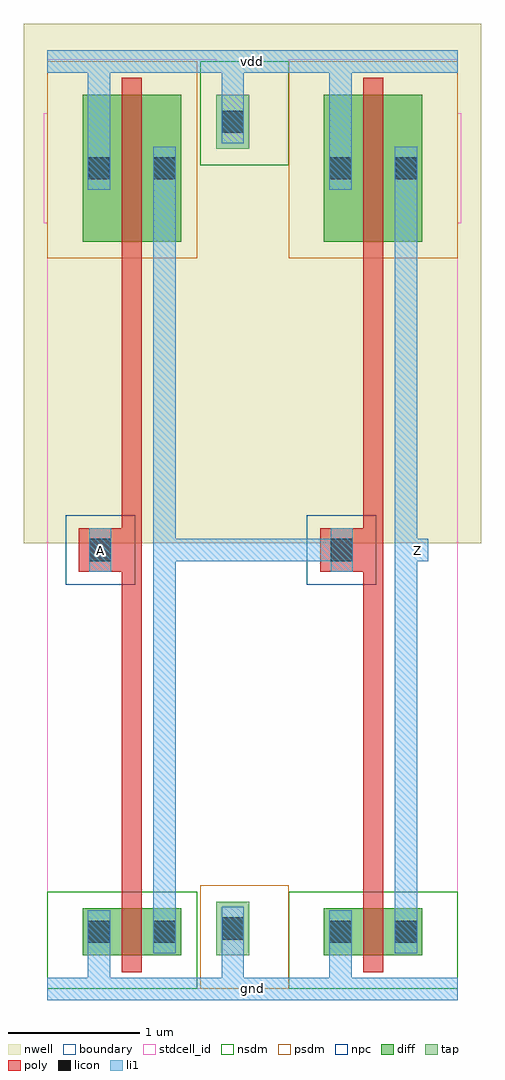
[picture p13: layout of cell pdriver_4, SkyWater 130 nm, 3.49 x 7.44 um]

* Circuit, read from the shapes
.subckt pdriver_4 A Z gnd vdd
XM1 pinv_7_1/A A gnd gnd sky130_fd_pr__nfet_01v8 w=0.36 l=0.15
XM2 Z pinv_7_1/A gnd gnd sky130_fd_pr__nfet_01v8 w=0.36 l=0.15
XM3 pinv_7_1/A A vdd vdd sky130_fd_pr__pfet_01v8 w=1.12 l=0.15
XM4 Z pinv_7_1/A vdd vdd sky130_fd_pr__pfet_01v8 w=1.12 l=0.15
.ends

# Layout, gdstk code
import gdstk
lib = gdstk.Library(unit=1e-6, precision=1e-09)
def R(c, l, rs):  # rectangles x0, y0, x1, y1
    for r in rs: c.add(gdstk.rectangle(r[:2], r[2:], *l))
nwell = (64, 20)
diff = (65, 20)
tap = (65, 44)
poly = (66, 20)
licon = (66, 44)
li1 = (67, 20)
stdcell_id = (81, 4)
nsdm = (93, 44)
psdm = (94, 20)
npc = (95, 20)
boundary = (235, 4)

contact_11 = lib.new_cell('contact_11')
R(contact_11, nwell, [(-0.295,-0.255,0.545,0.585)])
R(contact_11, diff, [(0,0.02,0.25,0.31)])
R(contact_11, licon, [(0.04,0.08,0.21,0.25)])
R(contact_11, li1, [(0.04,0,0.21,0.33)])
R(contact_11, stdcell_id, [(-0.295,-0.255,0.545,0.585)])
R(contact_11, psdm, [(-0.125,-0.105,0.375,0.435)])
R(contact_11, boundary, [(-0.295,-0.255,0.545,0.585)])

pmos_m1_w1_120_sli_dli_d = lib.new_cell('pmos_m1_w1_120_sli_dli_da_p')
R(pmos_m1_w1_120_sli_dli_d, nwell, [(-0.27,-0.27,1.02,1.39)])
R(pmos_m1_w1_120_sli_dli_d, diff, [(0,0,0.75,1.12)])
R(pmos_m1_w1_120_sli_dli_d, poly, [(0.3,-0.13,0.45,1.25), (0.3,-0.13,0.45,1.25)])
R(pmos_m1_w1_120_sli_dli_d, li1, [(0.04,0.395,0.21,0.725), (0.54,0.395,0.71,0.725)])
R(pmos_m1_w1_120_sli_dli_d, stdcell_id, [(-0.27,-0.27,1.02,1.39)])
R(pmos_m1_w1_120_sli_dli_d, psdm, [(-0.125,-0.125,0.875,1.245)])
R(pmos_m1_w1_120_sli_dli_d, boundary, [(-0.27,-0.27,1.02,1.39)])
pmos_m1_w1_120_sli_dli_d.add(gdstk.Reference(contact_11, (0,0.395)))
pmos_m1_w1_120_sli_dli_d.add(gdstk.Reference(contact_11, (0.5,0.395)))
pmos_m1_w1_120_sli_dli_d.add(gdstk.Label('S', (0.125,0.56), layer=67, texttype=16))
pmos_m1_w1_120_sli_dli_d.add(gdstk.Label('G', (0.375,0.56), layer=66, texttype=16))
pmos_m1_w1_120_sli_dli_d.add(gdstk.Label('D', (0.625,0.56), layer=67, texttype=16))

contact_17 = lib.new_cell('contact_17')
R(contact_17, diff, [(0,0.02,0.25,0.31)])
R(contact_17, licon, [(0.04,0.08,0.21,0.25)])
R(contact_17, li1, [(0.04,0,0.21,0.33)])
R(contact_17, stdcell_id, [(-0.125,-0.105,0.375,0.435)])
R(contact_17, nsdm, [(-0.125,-0.105,0.375,0.435)])
R(contact_17, boundary, [(-0.125,-0.105,0.375,0.435)])

nmos_m1_w0_360_sli_dli_d = lib.new_cell('nmos_m1_w0_360_sli_dli_da_p')
R(nmos_m1_w0_360_sli_dli_d, diff, [(0,0,0.75,0.36)])
R(nmos_m1_w0_360_sli_dli_d, poly, [(0.3,-0.13,0.45,0.49), (0.3,-0.13,0.45,0.49)])
R(nmos_m1_w0_360_sli_dli_d, li1, [(0.04,0.015,0.21,0.345), (0.54,0.015,0.71,0.345)])
R(nmos_m1_w0_360_sli_dli_d, stdcell_id, [(-0.125,-0.13,0.875,0.49)])
R(nmos_m1_w0_360_sli_dli_d, nsdm, [(-0.125,-0.125,0.875,0.485)])
R(nmos_m1_w0_360_sli_dli_d, boundary, [(-0.125,-0.13,0.875,0.49)])
nmos_m1_w0_360_sli_dli_d.add(gdstk.Reference(contact_17, (0,0.015)))
nmos_m1_w0_360_sli_dli_d.add(gdstk.Reference(contact_17, (0.5,0.015)))
nmos_m1_w0_360_sli_dli_d.add(gdstk.Label('S', (0.125,0.18), layer=67, texttype=16))
nmos_m1_w0_360_sli_dli_d.add(gdstk.Label('G', (0.375,0.18), layer=66, texttype=16))
nmos_m1_w0_360_sli_dli_d.add(gdstk.Label('D', (0.625,0.18), layer=67, texttype=16))

contact_24 = lib.new_cell('contact_24')
R(contact_24, nwell, [(-0.295,-0.215,0.545,0.625)])
R(contact_24, tap, [(0,0,0.25,0.41)])
R(contact_24, licon, [(0.04,0.12,0.21,0.29)])
R(contact_24, li1, [(0.04,0.04,0.21,0.37)])
R(contact_24, stdcell_id, [(-0.295,-0.215,0.545,0.625)])
R(contact_24, nsdm, [(-0.125,-0.125,0.375,0.535)])
R(contact_24, boundary, [(-0.295,-0.215,0.545,0.625)])

contact_25 = lib.new_cell('contact_25')
R(contact_25, tap, [(0,0,0.25,0.41)])
R(contact_25, licon, [(0.04,0.12,0.21,0.29)])
R(contact_25, li1, [(0.04,0.04,0.21,0.37)])
R(contact_25, stdcell_id, [(-0.125,-0.125,0.375,0.535)])
R(contact_25, psdm, [(-0.125,-0.125,0.375,0.535)])
R(contact_25, boundary, [(-0.125,-0.125,0.375,0.535)])

contact_12 = lib.new_cell('contact_12')
R(contact_12, poly, [(0,0,0.33,0.33)])
R(contact_12, licon, [(0.08,0.08,0.25,0.25)])
R(contact_12, li1, [(0.08,0,0.25,0.33)])
R(contact_12, stdcell_id, [(-0.1,-0.1,0.43,0.43)])
R(contact_12, npc, [(-0.1,-0.1,0.43,0.43)])
R(contact_12, boundary, [(-0.1,-0.1,0.43,0.43)])

pinv_4 = lib.new_cell('pinv_4')
R(pinv_4, nwell, [(-0.18,3.395,2.02,7.355)])
R(pinv_4, poly, [(0.57,0.745,0.72,5.565), (0.405,3.18,0.57,3.51)])
R(pinv_4, li1, [(0,-0.085,1.84,0.085), (0.31,-0.085,0.48,0.27), (1.33,0,1.5,0.46), (0.81,0.27,0.98,6.42), (0.32,3.18,0.49,3.51), (0.895,3.26,1.065,3.43), (0.31,6.09,0.48,7.155), (1.33,6.61,1.5,7.07), (0,6.985,1.84,7.155)])
R(pinv_4, stdcell_id, [(0,0,1.84,7.07), (0,0,1.84,7.07)])
R(pinv_4, nsdm, [(0,0,1.145,0.74), (1.165,6.28,1.84,7.07)])
R(pinv_4, psdm, [(1.165,0,1.84,0.79), (0,5.57,1.145,7.07)])
R(pinv_4, boundary, [(0,0,1.84,7.07), (0,0,1.84,7.07)])
pinv_4.add(gdstk.Reference(pmos_m1_w1_120_sli_dli_d, (0.27,5.695)))
pinv_4.add(gdstk.Reference(nmos_m1_w0_360_sli_dli_d, (0.27,0.255)))
pinv_4.add(gdstk.Reference(contact_24, (1.29,6.405)))
pinv_4.add(gdstk.Reference(contact_25, (1.29,0.255)))
pinv_4.add(gdstk.Reference(contact_12, (0.24,3.18)))
pinv_4.add(gdstk.Label('gnd', (0.92,0), layer=67, texttype=16))
pinv_4.add(gdstk.Label('Z', (0.98,3.345), layer=67, texttype=16))
pinv_4.add(gdstk.Label('vdd', (0.92,7.07), layer=67, texttype=16))
pinv_4.add(gdstk.Label('A', (0.405,3.345), layer=67, texttype=16))

pinv_7 = lib.new_cell('pinv_7')
R(pinv_7, nwell, [(-0.18,3.395,1.47,7.355)])
R(pinv_7, poly, [(0.57,0.745,0.72,5.565), (0.405,3.18,0.57,3.51)])
R(pinv_7, li1, [(0,-0.085,1.29,0.085), (0.31,-0.085,0.48,0.27), (0.81,0.27,0.98,6.42), (0.32,3.18,0.49,3.51), (0.895,3.26,1.065,3.43), (0.31,6.09,0.48,7.155), (0,6.985,1.29,7.155)])
R(pinv_7, stdcell_id, [(0,0,1.29,7.07), (0,0,1.29,7.07)])
R(pinv_7, nsdm, [(0,0,1.29,0.74)])
R(pinv_7, psdm, [(0,5.57,1.29,7.07)])
R(pinv_7, boundary, [(0,0,1.29,7.07), (0,0,1.29,7.07)])
pinv_7.add(gdstk.Reference(pmos_m1_w1_120_sli_dli_d, (0.27,5.695)))
pinv_7.add(gdstk.Reference(nmos_m1_w0_360_sli_dli_d, (0.27,0.255)))
pinv_7.add(gdstk.Reference(contact_12, (0.24,3.18)))
pinv_7.add(gdstk.Label('gnd', (0.645,0), layer=67, texttype=16))
pinv_7.add(gdstk.Label('Z', (0.98,3.345), layer=67, texttype=16))
pinv_7.add(gdstk.Label('vdd', (0.645,7.07), layer=67, texttype=16))
pinv_7.add(gdstk.Label('A', (0.405,3.345), layer=67, texttype=16))

pdriver_4 = lib.new_cell('pdriver_4')
R(pdriver_4, nwell, [(-0.18,3.395,3.31,7.355)])
R(pdriver_4, li1, [(0,-0.085,3.13,0.085), (0.32,3.18,0.49,3.51), (0.98,3.26,2.245,3.43), (2.735,3.26,2.905,3.43), (0,6.985,3.13,7.155)])
R(pdriver_4, stdcell_id, [(0,0,3.13,7.07), (0,0,3.13,7.07)])
R(pdriver_4, boundary, [(0,0,3.13,7.07), (0,0,3.13,7.07)])
pdriver_4.add(gdstk.Reference(pinv_4, (0,0)))
pdriver_4.add(gdstk.Reference(pinv_7, (1.84,0)))
pdriver_4.add(gdstk.Label('gnd', (1.565,0), layer=67, texttype=16))
pdriver_4.add(gdstk.Label('Z', (2.82,3.345), layer=67, texttype=16))
pdriver_4.add(gdstk.Label('vdd', (1.565,7.07), layer=67, texttype=16))
pdriver_4.add(gdstk.Label('A', (0.405,3.345), layer=67, texttype=16))

lib.write_gds('pdriver_4.gds')
